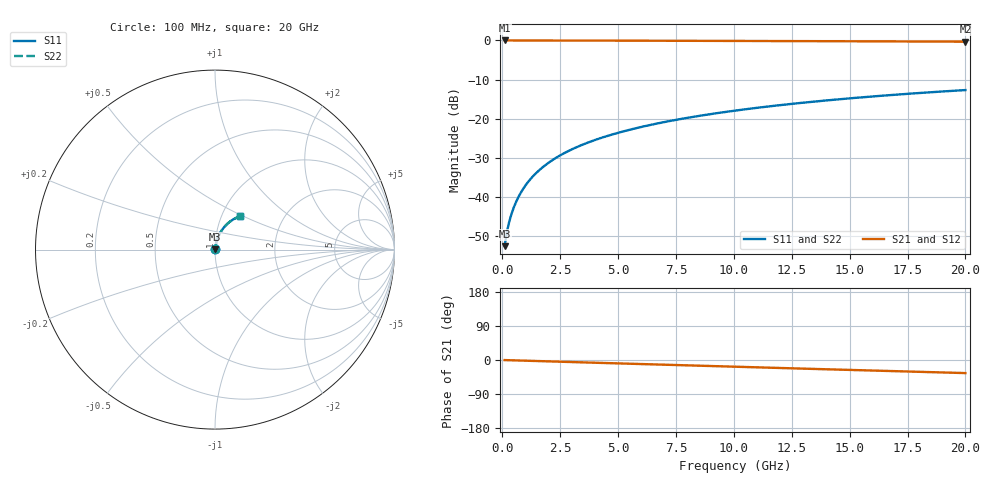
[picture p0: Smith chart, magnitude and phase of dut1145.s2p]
! Touchstone file exported from HFSS 2026.1.0
!  File:  C:/ffzhzh/LocalFiles/Ansys_Project_Files/temp_train_BSMRDL_1145_1783175537_51560.aedt
!  Generated:  10:33:33 PM Jul  4, 2026
!  Design:  BSMRDL
!  Project:  temp_train_BSMRDL_1145_1783175537_51560
! Variables:
!  h_bsmrdl = 4.91um
!  h_ox = 20um
!  h_rdl = 5um
!  h_sub = 80um
!  h_tmrdl = 5um
!  h_tsv = 80um
!  h_via = 3um
!  l_bsmrdl = 546.48um
!  l_sub = 946.48um
!  l_tmrdl = 200um
!  m_sub = 200um
!  pitch = 43.8um
!  r_tsv = 6um
!  s_tmrdl = 10um
!  w_bsmrdl = 26.23um
!  w_sub = 500um
!  w_tmrdl = 12um
!  x_tsv_center1 = 206um
!  x_tsv_center2 = 778.71um
!  x_tsv_center3 = 990.71um
!  x_tsv_center4 = 1563.42um
!  x_tsv_center5 = 1775.42um
!  x_tsv_center6 = 2348.13um
# GHz S MA R 50.000000
! Terminal data exported
! Port[1] = BSM_RDL1_1_T1
! Port[2] = BSM_RDL1_1_T2
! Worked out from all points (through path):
!   200 points, 100 MHz to 20 GHz, reference 50 ohm
!   highest |S21| = -0.02 dB at 100 MHz (marker M1); lowest = -0.3 dB at 20 GHz (marker M2)
!   group delay of S21, straight-line fit = 4.79 ps
!   lowest |S11| = -52.6 dB at 100 MHz (marker M3), VSWR 1.00, Z = 50.2 + j0.159 ohm
!   |S11| at or under -10 dB: start of sweep to end of sweep
!   |S22| runs from -52.6 to -12.7 dB; largest |S21 - S12| = 2.7e-15
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0.1  0.002347 42.5  0.9983 -0.2  0.9983 -0.2  0.002347 42.5
! Gamma 0 0 0 0
! Port Impedance 50 0 50 0
0.2  0.003573 57.6  0.9981 -0.4  0.9981 -0.4  0.003573 57.6
0.3  0.004826 64.7  0.998 -0.6  0.998 -0.6  0.004825 64.7
0.4  0.006093 69.2  0.9979 -0.7  0.9979 -0.7  0.006093 69.2
0.5  0.007381 72.1  0.9978 -0.9  0.9978 -0.9  0.007381 72.1
0.6  0.008685 74.3  0.9978 -1.1  0.9978 -1.1  0.008685 74.3
0.8  0.01133 77.0  0.9977 -1.5  0.9977 -1.5  0.01133 77.0
1.1  0.01533 79.0  0.9975 -2.0  0.9975 -2.0  0.01533 79.0
1.5  0.02069 80.1  0.9972 -2.7  0.9972 -2.7  0.02069 80.1
1.8  0.02469 80.3  0.9969 -3.3  0.9969 -3.3  0.02469 80.3
2.1  0.02868 80.3  0.9967 -3.8  0.9967 -3.8  0.02868 80.3
2.7  0.03657 79.9  0.996 -4.9  0.996 -4.9  0.03657 79.9
3.5  0.04694 79.0  0.995 -6.3  0.995 -6.3  0.04694 79.0
4.2  0.05586 78.0  0.9941 -7.6  0.9941 -7.6  0.05586 78.0
5  0.06591 76.8  0.993 -9.0  0.993 -9.0  0.06591 76.8
5.9  0.07707 75.5  0.9917 -10.5  0.9917 -10.5  0.07706 75.5
6.8  0.08807 74.1  0.9903 -12.1  0.9903 -12.1  0.08806 74.1
8.3  0.1061 71.8  0.9879 -14.7  0.9879 -14.7  0.1061 71.8
10.1  0.1272 68.9  0.9847 -17.8  0.9847 -17.8  0.1272 69.0
13.4  0.1645 63.7  0.9782 -23.5  0.9782 -23.5  0.1644 63.7
16.7  0.1995 58.4  0.9709 -29.1  0.9709 -29.1  0.1995 58.4
20  0.232 53.1  0.9631 -34.5  0.9631 -34.5  0.2319 53.2
